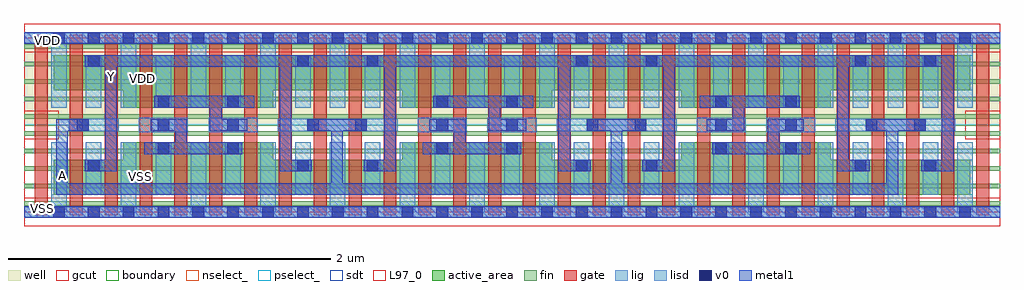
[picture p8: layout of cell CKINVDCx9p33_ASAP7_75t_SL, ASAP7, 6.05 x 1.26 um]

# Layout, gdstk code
import gdstk
lib = gdstk.Library(unit=1e-6, precision=2.5e-10)
def R(c, l, rs):  # rectangles x0, y0, x1, y1
    for r in rs: c.add(gdstk.rectangle(r[:2], r[2:], *l))
def A(c, l, x, y, w, h, nx, ny, dx, dy):  # array of equal rectangles
    R(c, l, [(x+i*dx, y+j*dy, x+i*dx+w, y+j*dy+h) for i in range(nx) for j in range(ny)])
def P(c, l, *ps):  # polygons
    for p in ps: c.add(gdstk.Polygon(p, *l))
well = (1, 0)
fin = (2, 0)
gate = (7, 0)
gcut = (10, 0)
active_area = (11, 0)
nselect_ = (12, 0)
pselect_ = (13, 0)
lig = (16, 0)
lisd = (17, 0)
v0 = (18, 0)
metal1 = (19, 0)
sdt = (88, 0)
L97_0 = (97, 0)
boundary = (100, 0)

ckinvdcx9p33_asap7_75t_s = lib.new_cell('CKINVDCx9p33_ASAP7_75t_SL')
R(ckinvdcx9p33_asap7_75t_s, well, [(0,0.54,6.048,1.08)])
A(ckinvdcx9p33_asap7_75t_s, fin, 0, 0.04, 6.048, 0.028, 1, 10, 0, 0.108)
A(ckinvdcx9p33_asap7_75t_s, gate, 0.068, -0.02, 0.08, 1.12, 26, 1, 0.216, 0)
A(ckinvdcx9p33_asap7_75t_s, gate, 5.468, -0.02, 0.08, 1.12, 3, 1, 0.216, 0)
R(ckinvdcx9p33_asap7_75t_s, gcut, [(0,-0.088,6.048,0.088), (0,0.452,0.216,0.628), (5.832,0.452,6.048,0.628), (0,0.992,6.048,1.168)])
P(ckinvdcx9p33_asap7_75t_s, active_area, [(5.864,0.324),(5,0.324),(5,0.432),(4.072,0.432),(4.072,0.324),(3.272,0.324),(3.272,0.432),(2.344,0.432),(2.344,0.324),(1.544,0.324),(1.544,0.432),(0.616,0.432),(0.616,0.324),(0.184,0.324),(0.184,0.108),(5.864,0.108)],
  [(5.864,0.972),(0.184,0.972),(0.184,0.756),(0.616,0.756),(0.616,0.648),(1.544,0.648),(1.544,0.756),(2.344,0.756),(2.344,0.648),(3.272,0.648),(3.272,0.756),(4.072,0.756),(4.072,0.648),(5,0.648),(5,0.756),(5.864,0.756)])
R(ckinvdcx9p33_asap7_75t_s, nselect_, [(0,0,6.048,0.54)])
R(ckinvdcx9p33_asap7_75t_s, pselect_, [(0,0.54,6.048,1.08)])
A(ckinvdcx9p33_asap7_75t_s, lig, 1.572, 0.5, 0.744, 0.08, 3, 1, 1.728, 0)
R(ckinvdcx9p33_asap7_75t_s, lig, [(0,-0.032,6.048,0.032), (0.712,0.496,1.016,0.584), (1.144,0.496,1.448,0.584), (2.44,0.496,2.744,0.584), (2.872,0.496,3.176,0.584), (4.168,0.496,4.472,0.584), (4.6,0.496,4.904,0.584), (0.276,0.5,0.588,0.58), (0,1.048,6.048,1.112)])
A(ckinvdcx9p33_asap7_75t_s, lisd, 0.168, 0, 0.096, 0.432, 14, 2, 0.432, 0.648)
A(ckinvdcx9p33_asap7_75t_s, lisd, 0.384, 0.108, 0.096, 0.324, 13, 2, 0.432, 0.54)
A(ckinvdcx9p33_asap7_75t_s, v0, 0.18, -0.036, 0.072, 0.072, 27, 2, 0.216, 1.08)
A(ckinvdcx9p33_asap7_75t_s, v0, 0.828, 0.36, 0.072, 0.072, 1, 3, 0, 0.144)
A(ckinvdcx9p33_asap7_75t_s, v0, 1.26, 0.36, 0.072, 0.072, 1, 3, 0, 0.144)
A(ckinvdcx9p33_asap7_75t_s, v0, 2.556, 0.36, 0.072, 0.072, 1, 3, 0, 0.144)
A(ckinvdcx9p33_asap7_75t_s, v0, 2.988, 0.36, 0.072, 0.072, 1, 3, 0, 0.144)
A(ckinvdcx9p33_asap7_75t_s, v0, 4.284, 0.36, 0.072, 0.072, 1, 3, 0, 0.144)
A(ckinvdcx9p33_asap7_75t_s, v0, 4.716, 0.36, 0.072, 0.072, 1, 3, 0, 0.144)
R(ckinvdcx9p33_asap7_75t_s, v0, [(0.396,0.252,0.468,0.324), (1.692,0.252,1.764,0.324), (2.124,0.252,2.196,0.324), (3.42,0.252,3.492,0.324), (3.852,0.252,3.924,0.324), (5.148,0.252,5.22,0.324), (5.58,0.252,5.652,0.324), (0.328,0.504,0.4,0.576), (1.756,0.504,1.828,0.576), (2.052,0.504,2.124,0.576), (3.488,0.504,3.56,0.576), (3.784,0.504,3.856,0.576), (5.216,0.504,5.288,0.576), (5.516,0.504,5.588,0.576), (0.396,0.9,0.468,0.972), (1.692,0.9,1.764,0.972), (2.124,0.9,2.196,0.972), (3.42,0.9,3.492,0.972), (3.852,0.9,3.924,0.972), (5.148,0.9,5.22,0.972), (5.58,0.9,5.652,0.972)])
R(ckinvdcx9p33_asap7_75t_s, metal1, [(0,-0.036,6.048,0.036), (0,1.044,6.048,1.116)])
P(ckinvdcx9p33_asap7_75t_s, metal1, [(5.76,0.972),(0.376,0.972),(0.376,0.9),(0.504,0.9),(0.504,0.324),(0.376,0.324),(0.376,0.252),(0.576,0.252),(0.576,0.9),(1.584,0.9),(1.584,0.252),(1.784,0.252),(1.784,0.324),(1.656,0.324),(1.656,0.9),(2.232,0.9),(2.232,0.324),(2.104,0.324),(2.104,0.252),(2.304,0.252),(2.304,0.9),(3.312,0.9),(3.312,0.252),(3.512,0.252),(3.512,0.324),(3.384,0.324),(3.384,0.9),(3.96,0.9),(3.96,0.324),(3.832,0.324),(3.832,0.252),(4.032,0.252),(4.032,0.9),(5.04,0.9),(5.04,0.252),(5.24,0.252),(5.24,0.324),(5.112,0.324),(5.112,0.9),(5.688,0.9),(5.688,0.324),(5.56,0.324),(5.56,0.252),(5.76,0.252)],
  [(3.08,0.432),(2.736,0.432),(2.736,0.576),(2.512,0.576),(2.512,0.504),(2.664,0.504),(2.664,0.432),(2.472,0.432),(2.472,0.36),(3.08,0.36)],
  [(1.352,0.432),(1.008,0.432),(1.008,0.576),(0.784,0.576),(0.784,0.504),(0.936,0.504),(0.936,0.432),(0.744,0.432),(0.744,0.36),(1.352,0.36)],
  [(5.588,0.576),(5.216,0.576),(5.216,0.504),(5.344,0.504),(5.344,0.18),(3.708,0.18),(3.708,0.504),(3.856,0.504),(3.856,0.576),(3.488,0.576),(3.488,0.504),(3.636,0.504),(3.636,0.18),(1.976,0.18),(1.976,0.504),(2.124,0.504),(2.124,0.576),(1.756,0.576),(1.756,0.504),(1.904,0.504),(1.904,0.18),(0.272,0.18),(0.272,0.504),(0.4,0.504),(0.4,0.576),(0.2,0.576),(0.2,0.108),(5.416,0.108),(5.416,0.504),(5.588,0.504)],
  [(1.428,0.72),(0.808,0.72),(0.808,0.648),(1.152,0.648),(1.152,0.504),(1.384,0.504),(1.384,0.576),(1.224,0.576),(1.224,0.648),(1.428,0.648)],
  [(3.156,0.72),(2.536,0.72),(2.536,0.648),(2.88,0.648),(2.88,0.504),(3.112,0.504),(3.112,0.576),(2.952,0.576),(2.952,0.648),(3.156,0.648)],
  [(4.808,0.72),(4.188,0.72),(4.188,0.648),(4.392,0.648),(4.392,0.576),(4.232,0.576),(4.232,0.504),(4.464,0.504),(4.464,0.648),(4.808,0.648)],
  [(4.872,0.432),(4.68,0.432),(4.68,0.504),(4.832,0.504),(4.832,0.576),(4.608,0.576),(4.608,0.432),(4.264,0.432),(4.264,0.36),(4.872,0.36)])
A(ckinvdcx9p33_asap7_75t_s, sdt, 0.6, 0.108, 0.096, 0.324, 5, 2, 0.216, 0.54)
A(ckinvdcx9p33_asap7_75t_s, sdt, 1.68, 0.108, 0.096, 0.216, 3, 2, 0.216, 0.648)
A(ckinvdcx9p33_asap7_75t_s, sdt, 2.328, 0.108, 0.096, 0.324, 5, 2, 0.216, 0.54)
A(ckinvdcx9p33_asap7_75t_s, sdt, 3.408, 0.108, 0.096, 0.216, 3, 2, 0.216, 0.648)
A(ckinvdcx9p33_asap7_75t_s, sdt, 4.056, 0.108, 0.096, 0.324, 5, 2, 0.216, 0.54)
A(ckinvdcx9p33_asap7_75t_s, sdt, 5.352, 0.108, 0.096, 0.216, 3, 2, 0.216, 0.648)
R(ckinvdcx9p33_asap7_75t_s, sdt, [(0.168,0.108,0.264,0.432), (0.384,0.108,0.48,0.324), (5.136,0.108,5.232,0.324), (5.352,0.108,5.448,0.324), (0.168,0.648,0.264,0.972), (0.384,0.756,0.48,0.972), (5.136,0.756,5.232,0.972), (5.352,0.756,5.448,0.972)])
R(ckinvdcx9p33_asap7_75t_s, L97_0, [(0,0,6.048,1.08)])
R(ckinvdcx9p33_asap7_75t_s, boundary, [(0,0,6.048,1.08)])
ckinvdcx9p33_asap7_75t_s.add(gdstk.Label('VSS', (0.116,0.024), layer=19, texttype=251))
ckinvdcx9p33_asap7_75t_s.add(gdstk.Label('VDD', (0.144,1.066), layer=19, texttype=251))
ckinvdcx9p33_asap7_75t_s.add(gdstk.Label('Y', (0.54,0.84), layer=19, texttype=251))
ckinvdcx9p33_asap7_75t_s.add(gdstk.Label('A', (0.24,0.228), layer=19, texttype=251))
ckinvdcx9p33_asap7_75t_s.add(gdstk.Label('VDD', (0.736,0.828), layer=1, texttype=251))
ckinvdcx9p33_asap7_75t_s.add(gdstk.Label('VSS', (0.724,0.22), layer=3, texttype=251))

lib.write_gds('CKINVDCx9p33_ASAP7_75t_SL.gds')
